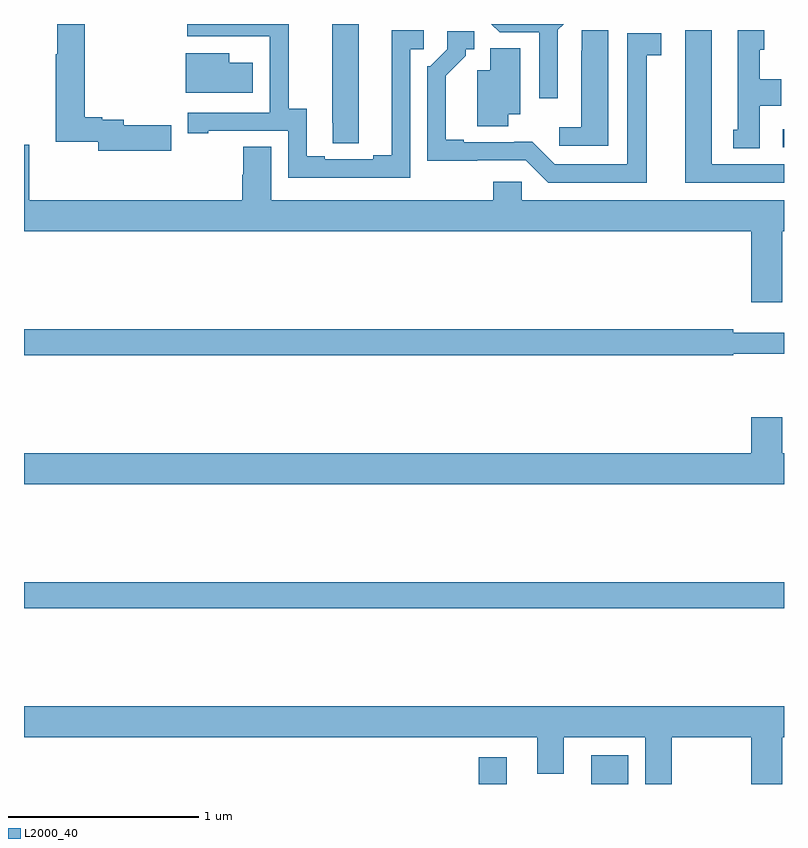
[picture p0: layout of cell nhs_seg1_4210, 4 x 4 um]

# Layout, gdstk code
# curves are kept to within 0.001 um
import gdstk
lib = gdstk.Library(unit=1e-6, precision=1e-09)
def R(c, l, rs):  # rectangles x0, y0, x1, y1
    for r in rs: c.add(gdstk.rectangle(r[:2], r[2:], *l))
def P(c, l, *ps):  # polygons
    for p in ps: c.add(gdstk.Polygon(p, *l))
L2000_40 = (2000, 40)

nhs_seg1_4210 = lib.new_cell('nhs_seg1_4210')
R(nhs_seg1_4210, L2000_40, [(343.394,506.199,343.54,506.341), (343.985,506.199,344.181,506.35), (341,507.124,345,507.26), (344.994,509.55,345,509.646)])
P(nhs_seg1_4210, L2000_40, [(343.809,510.168),(343.84,510.199),(343.46,510.199),(343.503,510.156),(343.713,510.156),(343.713,509.808),(343.809,509.808)],
  [(342.763,510.199),(342.623,510.199),(342.623,509.68),(342.624,509.68),(342.624,509.572),(342.763,509.572)],
  [(341.776,509.666),(341.524,509.666),(341.524,509.695),(341.412,509.695),(341.412,509.708),(341.321,509.708),(341.321,510.199),(341.174,510.199),(341.174,510.04),(341.167,510.04),(341.167,509.578),(341.39,509.578),(341.39,509.531),(341.776,509.531)],
  [(343.032,510.066),(343.105,510.066),(343.105,510.167),(342.935,510.167),(342.935,509.507),(342.839,509.507),(342.839,509.487),(342.583,509.487),(342.583,509.502),(342.487,509.502),(342.487,509.753),(342.393,509.753),(342.393,510.199),(341.859,510.199),(341.859,510.135),(342.293,510.135),(342.293,510.134),(342.294,510.134),(342.294,509.733),(341.861,509.733),(341.861,509.625),(341.971,509.625),(341.971,509.637),(342.39,509.637),(342.39,509.391),(343.032,509.391)],
  [(344.074,510.167),(343.935,510.167),(343.935,510.059),(343.934,510.059),(343.934,509.656),(343.818,509.656),(343.818,509.559),(344.074,509.559)],
  [(345,509.46),(344.62,509.46),(344.62,510.166),(344.48,510.166),(344.48,509.364),(345,509.364)],
  [(344.872,509.768),(344.986,509.768),(344.986,509.908),(344.872,509.908),(344.872,510.063),(344.896,510.063),(344.896,510.166),(344.756,510.166),(344.756,509.643),(344.732,509.643),(344.732,509.545),(344.872,509.545)],
  [(344.278,510.034),(344.353,510.034),(344.353,510.15),(344.174,510.15),(344.174,509.46),(343.794,509.46),(343.676,509.578),(343.315,509.577),(343.315,509.59),(343.219,509.59),(343.219,509.926),(343.324,510.031),(343.324,510.066),(343.369,510.066),(343.369,510.162),(343.227,510.162),(343.227,510.066),(343.137,509.976),(343.122,509.976),(343.122,509.48),(343.641,509.481),(343.758,509.364),(344.278,509.364)],
  [(343.549,509.723),(343.612,509.723),(343.612,510.071),(343.454,510.071),(343.454,509.956),(343.385,509.956),(343.385,509.662),(343.549,509.662)],
  [(342.205,509.995),(342.079,509.995),(342.079,510.046),(341.852,510.046),(341.852,509.837),(342.205,509.837)],
  [(344.992,509.108),(345,509.108),(345,509.272),(343.62,509.272),(343.62,509.37),(343.469,509.37),(343.469,509.272),(342.301,509.272),(342.301,509.552),(342.154,509.552),(342.154,509.406),(342.149,509.406),(342.149,509.272),(341.027,509.272),(341.027,509.563),(341,509.563),(341,509.108),(344.828,509.108),(344.828,508.734),(344.992,508.734)],
  [(344.734,508.464),(345,508.464),(345,508.573),(344.732,508.573),(344.732,508.592),(341,508.592),(341,508.456),(344.734,508.456)],
  [(345,507.94),(344.992,507.94),(344.992,508.129),(344.828,508.129),(344.828,507.94),(341,507.94),(341,507.776),(345,507.776)],
  [(344.409,506.444),(344.828,506.444),(344.828,506.199),(344.992,506.199),(344.992,506.444),(345,506.444),(345,506.608),(341,506.608),(341,506.444),(343.7,506.444),(343.7,506.254),(343.84,506.254),(343.84,506.444),(344.27,506.444),(344.27,506.199),(344.409,506.199)])

lib.write_gds('nhs_seg1_4210.gds')
